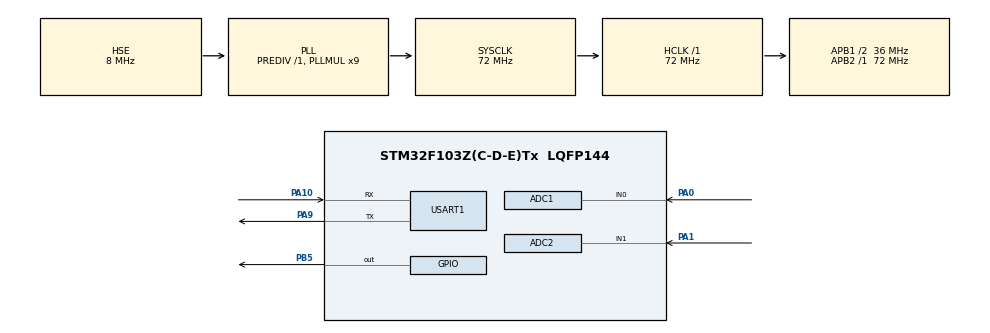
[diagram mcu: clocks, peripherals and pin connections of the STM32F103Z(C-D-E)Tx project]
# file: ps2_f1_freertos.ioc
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ADC1.Channel-1\#ChannelRegularConversion=ADC_CHANNEL_0
ADC1.ContinuousConvMode=DISABLE
ADC1.NbrOfConversionFlag=1
ADC1.Rank-1\#ChannelRegularConversion=1
ADC1.SamplingTime-1\#ChannelRegularConversion=ADC_SAMPLETIME_1CYCLE_5
ADC1.master=1
ADC2.Channel-1\#ChannelRegularConversion=ADC_CHANNEL_1
ADC2.NbrOfConversionFlag=1
ADC2.Rank-1\#ChannelRegularConversion=1
ADC2.SamplingTime-1\#ChannelRegularConversion=ADC_SAMPLETIME_1CYCLE_5
FREERTOS.Tasks01=defaultTask,24,128,StartDefaultTask,Default,NULL,Dynamic,NULL,NULL;myTask02,8,128,StartTask02,Default,NULL,Dynamic,NULL,NULL
Mcu.Family=STM32F1
Mcu.Name=STM32F103Z(C-D-E)Tx
Mcu.Package=LQFP144
NVIC.PriorityGroup=NVIC_PRIORITYGROUP_4
NVIC.TIM8_UP_IRQn=true\:15\:0\:false\:false\:true\:false\:false\:true\:true
NVIC.TimeBase=TIM8_UP_IRQn
NVIC.TimeBaseIP=TIM8
OSC_IN.Mode=HSE-External-Oscillator
OSC_IN.Signal=RCC_OSC_IN
OSC_OUT.Mode=HSE-External-Oscillator
OSC_OUT.Signal=RCC_OSC_OUT
PA0-WKUP.Signal=ADCx_IN0
PA1.Signal=ADCx_IN1
PA10.Mode=Asynchronous
PA10.Signal=USART1_RX
PA13.Mode=JTAG_4_pins
PA13.Signal=SYS_JTMS-SWDIO
PA14.Mode=JTAG_4_pins
PA14.Signal=SYS_JTCK-SWCLK
PA15.Mode=JTAG_4_pins
PA15.Signal=SYS_JTDI
PA9.Mode=Asynchronous
PA9.Signal=USART1_TX
PB3.Mode=JTAG_4_pins
PB3.Signal=SYS_JTDO-TRACESWO
PB5.Signal=GPIO_Output
ProjectManager.HeapSize=0x200
ProjectManager.StackSize=0x400
ProjectManager.TargetToolchain=MDK-ARM V5.32
RCC.ADCPresc=RCC_ADCPCLK2_DIV6
RCC.AHBFreq_Value=72000000
RCC.APB1CLKDivider=RCC_HCLK_DIV2
RCC.APB1Freq_Value=36000000
RCC.APB1TimFreq_Value=72000000
RCC.APB2Freq_Value=72000000
RCC.APB2TimFreq_Value=72000000
RCC.HCLKFreq_Value=72000000
RCC.PLLMUL=RCC_PLL_MUL9
RCC.PLLSourceVirtual=RCC_PLLSOURCE_HSE
RCC.SYSCLKFreq_VALUE=72000000
RCC.SYSCLKSource=RCC_SYSCLKSOURCE_PLLCLK
RCC.USBFreq_Value=72000000
SH.ADCx_IN0.0=ADC1_IN0,IN0
SH.ADCx_IN1.0=ADC2_IN1,IN1
USART1.VirtualMode=VM_ASYNC
VP_FREERTOS_VS_CMSIS_V2.Mode=CMSIS_V2
VP_SYS_VS_tim8.Mode=TIM8
board=custom

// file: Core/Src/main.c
/* USER CODE BEGIN Header */
/**
  ******************************************************************************
  * @file           : main.c
  * @brief          : Main program body
  ******************************************************************************
  * @attention
  *
  * Copyright (c) 2025 STMicroelectronics.
  * All rights reserved.
  *
  * This software is licensed under terms that can be found in the LICENSE file
  * in the root directory of this software component.
  * If no LICENSE file comes with this software, it is provided AS-IS.
  *
  ******************************************************************************
  */
/* USER CODE END Header */
#include "main.h"
#include "cmsis_os.h"
#include "adc.h"
#include "usart.h"
#include "gpio.h"

void SystemClock_Config(void);
void MX_FREERTOS_Init(void);

int main(void)
{

  /* MCU Configuration--------------------------------------------------------*/

  /* Reset of all peripherals, Initializes the Flash interface and the Systick. */
  HAL_Init();

  /* Configure the system clock */
  SystemClock_Config();

  /* Initialize all configured peripherals */
  MX_GPIO_Init();
  MX_ADC1_Init();
  MX_USART1_UART_Init();
  MX_ADC2_Init();

  /* Init scheduler */
  osKernelInitialize();

  /* Call init function for freertos objects (in cmsis_os2.c) */
  MX_FREERTOS_Init();

  /* Start scheduler */
  osKernelStart();

  /* We should never get here as control is now taken by the scheduler */

  /* Infinite loop */
  while (1)
  {

  }
}

void SystemClock_Config(void)
{
  RCC_OscInitTypeDef RCC_OscInitStruct = {0};
  RCC_ClkInitTypeDef RCC_ClkInitStruct = {0};
  RCC_PeriphCLKInitTypeDef PeriphClkInit = {0};

  /** Initializes the RCC Oscillators according to the specified parameters
  * in the RCC_OscInitTypeDef structure.
  */
  RCC_OscInitStruct.OscillatorType = RCC_OSCILLATORTYPE_HSE;
  RCC_OscInitStruct.HSEState = RCC_HSE_ON;
  RCC_OscInitStruct.HSEPredivValue = RCC_HSE_PREDIV_DIV1;
  RCC_OscInitStruct.HSIState = RCC_HSI_ON;
  RCC_OscInitStruct.PLL.PLLState = RCC_PLL_ON;
  RCC_OscInitStruct.PLL.PLLSource = RCC_PLLSOURCE_HSE;
  RCC_OscInitStruct.PLL.PLLMUL = RCC_PLL_MUL9;
  if (HAL_RCC_OscConfig(&RCC_OscInitStruct) != HAL_OK)
  {
    Error_Handler();
  }

  /** Initializes the CPU, AHB and APB buses clocks
  */
  RCC_ClkInitStruct.ClockType = RCC_CLOCKTYPE_HCLK|RCC_CLOCKTYPE_SYSCLK
                              |RCC_CLOCKTYPE_PCLK1|RCC_CLOCKTYPE_PCLK2;
  RCC_ClkInitStruct.SYSCLKSource = RCC_SYSCLKSOURCE_PLLCLK;
  RCC_ClkInitStruct.AHBCLKDivider = RCC_SYSCLK_DIV1;
  RCC_ClkInitStruct.APB1CLKDivider = RCC_HCLK_DIV2;
  RCC_ClkInitStruct.APB2CLKDivider = RCC_HCLK_DIV1;

  if (HAL_RCC_ClockConfig(&RCC_ClkInitStruct, FLASH_LATENCY_2) != HAL_OK)
  {
    Error_Handler();
  }
  PeriphClkInit.PeriphClockSelection = RCC_PERIPHCLK_ADC;
  PeriphClkInit.AdcClockSelection = RCC_ADCPCLK2_DIV6;
  if (HAL_RCCEx_PeriphCLKConfig(&PeriphClkInit) != HAL_OK)
  {
    Error_Handler();
  }
}

void HAL_TIM_PeriodElapsedCallback(TIM_HandleTypeDef *htim)
{
  if (htim->Instance == TIM8) {
    HAL_IncTick();
  }
}

void Error_Handler(void)
{
  __disable_irq();
  while (1)
  {
  }
}

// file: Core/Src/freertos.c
/* USER CODE BEGIN Header */
/**
  ******************************************************************************
  * File Name          : freertos.c
  * Description        : Code for freertos applications
  ******************************************************************************
  * @attention
  *
  * Copyright (c) 2025 STMicroelectronics.
  * All rights reserved.
  *
  * This software is licensed under terms that can be found in the LICENSE file
  * in the root directory of this software component.
  * If no LICENSE file comes with this software, it is provided AS-IS.
  *
  ******************************************************************************
  */
/* USER CODE END Header */

#include "FreeRTOS.h"
#include "task.h"
#include "main.h"
#include "cmsis_os.h"

/* USER CODE BEGIN Includes */
#include "adc.h"
#include "usart.h"
/* USER CODE END Includes */

/* Definitions for defaultTask */
osThreadId_t defaultTaskHandle;
const osThreadAttr_t defaultTask_attributes = {
  .name = "defaultTask",
  .stack_size = 128 * 4,
  .priority = (osPriority_t) osPriorityNormal,
};
/* Definitions for myTask02 */
osThreadId_t myTask02Handle;
const osThreadAttr_t myTask02_attributes = {
  .name = "myTask02",
  .stack_size = 128 * 4,
  .priority = (osPriority_t) osPriorityLow,
};

void StartDefaultTask(void *argument);
void StartTask02(void *argument);

void MX_FREERTOS_Init(void); /* (MISRA C 2004 rule 8.1) */

void MX_FREERTOS_Init(void) {

  /* Create the thread(s) */
  /* creation of defaultTask */
  defaultTaskHandle = osThreadNew(StartDefaultTask, NULL, &defaultTask_attributes);

  /* creation of myTask02 */
  myTask02Handle = osThreadNew(StartTask02, NULL, &myTask02_attributes);

}

void StartDefaultTask(void *argument)
{
  /* USER CODE BEGIN StartDefaultTask */
  /* Infinite loop */
  for(;;)
  {
    printf("Default Task Running...\n");
    uint16_t x_value = 0;
    uint16_t y_value = 0;
    uint16_t temp_value = 0;
    uint16_t sum0 = 0;
    uint16_t sum1 = 0;
    uint16_t filterbuffer0[60] = {0};
    uint16_t filterbuffer1[60] = {0};

    HAL_ADC_Start(&hadc1);
    HAL_ADC_Start(&hadc2);

    for(int count=0;count<60;count++)
    {
      filterbuffer0[count] = (uint16_t)HAL_ADC_GetValue(&hadc1);
      filterbuffer1[count] = (uint16_t)HAL_ADC_GetValue(&hadc2);
    }
    for(int i=0;i<60;i++)
    {
      for (int j =0; j< 60-i ; j++)
      {
        if (filterbuffer0[i] > filterbuffer0[i+1])
        {
          temp_value = filterbuffer0[i];
          filterbuffer0[i] = filterbuffer0[i+1];
          filterbuffer0[i+1] = temp_value;
        }
        if (filterbuffer1[i] > filterbuffer1[i+1])
        {
          temp_value = filterbuffer1[i];
          filterbuffer1[i] = filterbuffer1[i+1];
          filterbuffer1[i+1] = temp_value;
        }
      }
    }
    for (int count=20;count<40 ;count++)
    {
      sum0+= filterbuffer0[count];
      sum1+= filterbuffer1[count];
    }
    x_value = (uint16_t)((float)sum0 / 20);
    y_value = (uint16_t)((float)sum1 / 20);

    // HAL_ADC_PollForConversion(&hadc1, HAL_MAX_DELAY);
    // x_value = (uint16_t)HAL_ADC_GetValue(&hadc1);
    // HAL_ADC_PollForConversion(&hadc2, HAL_MAX_DELAY);
    // y_value = (uint16_t)HAL_ADC_GetValue(&hadc2);

    printf("%d,%d\n", x_value, y_value);
    osDelay(10);

  }
  /* USER CODE END StartDefaultTask */
}

void StartTask02(void *argument)
{
  /* USER CODE BEGIN StartTask02 */
  /* Infinite loop */
  for(;;)
  {
    HAL_GPIO_TogglePin(GPIOB, GPIO_PIN_5); // Toggle an LED connected to GPIOB Pin 0
    osDelay(500);
  }
  /* USER CODE END StartTask02 */
}
